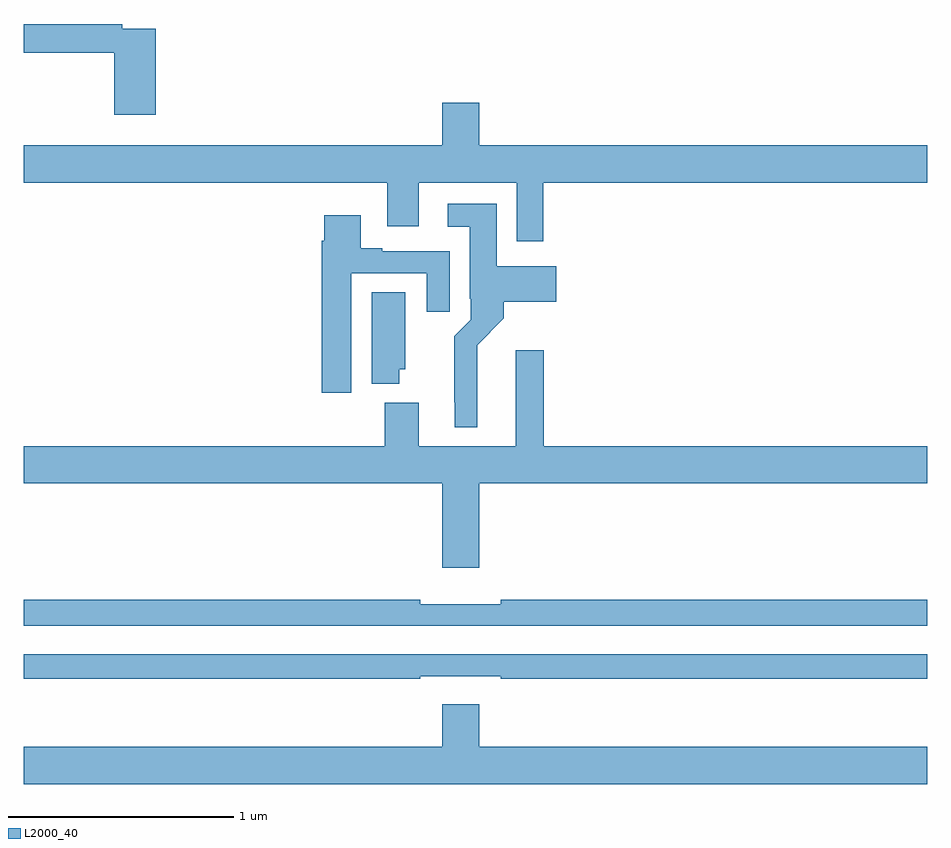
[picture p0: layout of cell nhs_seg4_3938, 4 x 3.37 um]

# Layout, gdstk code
import gdstk
lib = gdstk.Library(unit=1e-6, precision=1e-09)
def P(c, l, *ps):  # polygons
    for p in ps: c.add(gdstk.Polygon(p, *l))
L2000_40 = (2000, 40)

nhs_seg4_3938 = lib.new_cell('nhs_seg4_3938')
P(nhs_seg4_3938, L2000_40, [(319.583,806.826),(319.436,806.826),(319.436,806.846),(319,806.846),(319,806.718),(319.4,806.718),(319.4,806.445),(319.583,806.445)],
  [(321.299,806.144),(323,806.144),(323,806.308),(321.016,806.308),(321.016,806.497),(320.852,806.497),(320.852,806.308),(319,806.308),(319,806.144),(320.609,806.144),(320.609,805.95),(320.749,805.95),(320.749,806.144),(321.183,806.144),(321.183,805.884),(321.299,805.884)],
  [(321.007,805.424),(321.125,805.542),(321.125,805.616),(321.358,805.616),(321.358,805.774),(321.094,805.774),(321.094,806.05),(320.877,806.05),(320.877,805.949),(320.975,805.949),(320.975,805.63),(320.979,805.63),(320.979,805.536),(320.905,805.462),(320.905,805.171),(320.909,805.171),(320.909,805.061),(321.007,805.061)],
  [(320.449,805.743),(320.783,805.743),(320.783,805.572),(320.887,805.572),(320.887,805.839),(320.587,805.839),(320.587,805.852),(320.491,805.852),(320.491,805.999),(320.33,805.999),(320.33,805.886),(320.318,805.886),(320.318,805.212),(320.449,805.212)],
  [(320.662,805.317),(320.689,805.317),(320.689,805.658),(320.54,805.658),(320.54,805.253),(320.662,805.253)],
  [(321.016,804.812),(323,804.812),(323,804.976),(321.302,804.976),(321.302,805.402),(321.179,805.402),(321.179,804.976),(320.749,804.976),(320.749,805.168),(320.597,805.168),(320.597,804.976),(319,804.976),(319,804.812),(320.852,804.812),(320.852,804.438),(321.016,804.438)],
  [(323,804.296),(321.112,804.296),(321.112,804.277),(320.756,804.277),(320.756,804.296),(319,804.296),(319,804.18),(323,804.18)],
  [(320.756,803.958),(321.112,803.958),(321.112,803.946),(323,803.946),(323,804.054),(319,804.054),(319,803.946),(320.756,803.946)],
  [(323,803.644),(321.016,803.644),(321.016,803.833),(320.852,803.833),(320.852,803.644),(319,803.644),(319,803.48),(323,803.48)])

lib.write_gds('nhs_seg4_3938.gds')
